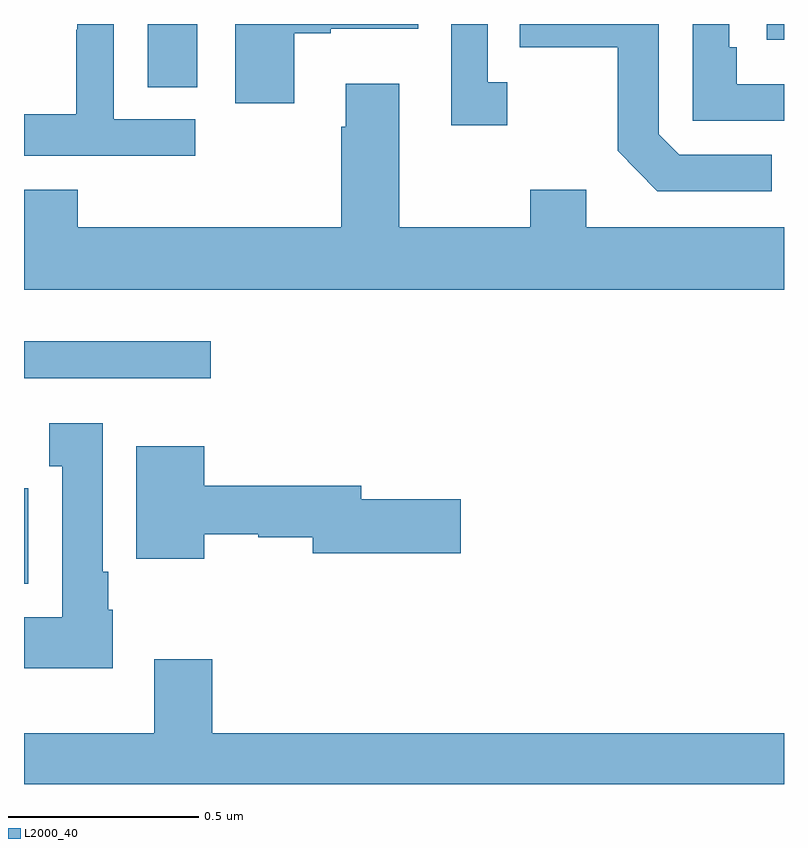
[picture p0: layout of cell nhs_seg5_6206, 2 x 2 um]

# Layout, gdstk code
import gdstk
lib = gdstk.Library(unit=1e-6, precision=1e-09)
def R(c, l, rs):  # rectangles x0, y0, x1, y1
    for r in rs: c.add(gdstk.rectangle(r[:2], r[2:], *l))
def P(c, l, *ps):  # polygons
    for p in ps: c.add(gdstk.Polygon(p, *l))
L2000_40 = (2000, 40)

nhs_seg5_6206 = lib.new_cell('nhs_seg5_6206')
R(nhs_seg5_6206, L2000_40, [(193,849.326,193.011,849.577), (193,849.867,193.492,849.964), (193.325,850.633,193.456,850.799), (194.955,850.758,195,850.799)])
P(nhs_seg5_6206, L2000_40, [(194.968,850.455),(194.724,850.455),(194.67,850.509),(194.67,850.799),(194.305,850.799),(194.305,850.738),(194.562,850.738),(194.562,850.465),(194.667,850.359),(194.968,850.359)],
  [(193.45,850.548),(193.236,850.548),(193.236,850.799),(193.14,850.799),(193.14,850.784),(193.138,850.784),(193.138,850.561),(193,850.561),(193,850.452),(193.45,850.452)],
  [(194.272,850.646),(194.22,850.646),(194.22,850.799),(194.124,850.799),(194.124,850.533),(194.272,850.533)],
  [(193.711,850.775),(193.807,850.775),(193.807,850.787),(194.038,850.787),(194.038,850.799),(193.556,850.799),(193.556,850.59),(193.711,850.59)],
  [(195,850.641),(194.876,850.641),(194.876,850.738),(194.856,850.738),(194.856,850.799),(194.76,850.799),(194.76,850.545),(195,850.545)],
  [(195,850.264),(194.479,850.264),(194.479,850.363),(194.332,850.363),(194.332,850.264),(193.987,850.264),(193.987,850.642),(193.847,850.642),(193.847,850.529),(193.835,850.529),(193.835,850.264),(193.142,850.264),(193.142,850.363),(193,850.363),(193,850.1),(195,850.1)],
  [(193.234,849.258),(193.222,849.258),(193.222,849.358),(193.207,849.358),(193.207,849.748),(193.067,849.748),(193.067,849.635),(193.1,849.635),(193.1,849.238),(193,849.238),(193,849.104),(193.234,849.104)],
  [(193.474,849.456),(193.617,849.456),(193.617,849.448),(193.76,849.448),(193.76,849.406),(194.149,849.406),(194.149,849.548),(193.888,849.548),(193.888,849.584),(193.474,849.584),(193.474,849.688),(193.295,849.688),(193.295,849.392),(193.474,849.392)],
  [(193.343,849.127),(193.343,848.932),(193,848.932),(193,848.799),(195,848.799),(195,848.932),(193.496,848.932),(193.496,849.127)])

lib.write_gds('nhs_seg5_6206.gds')
